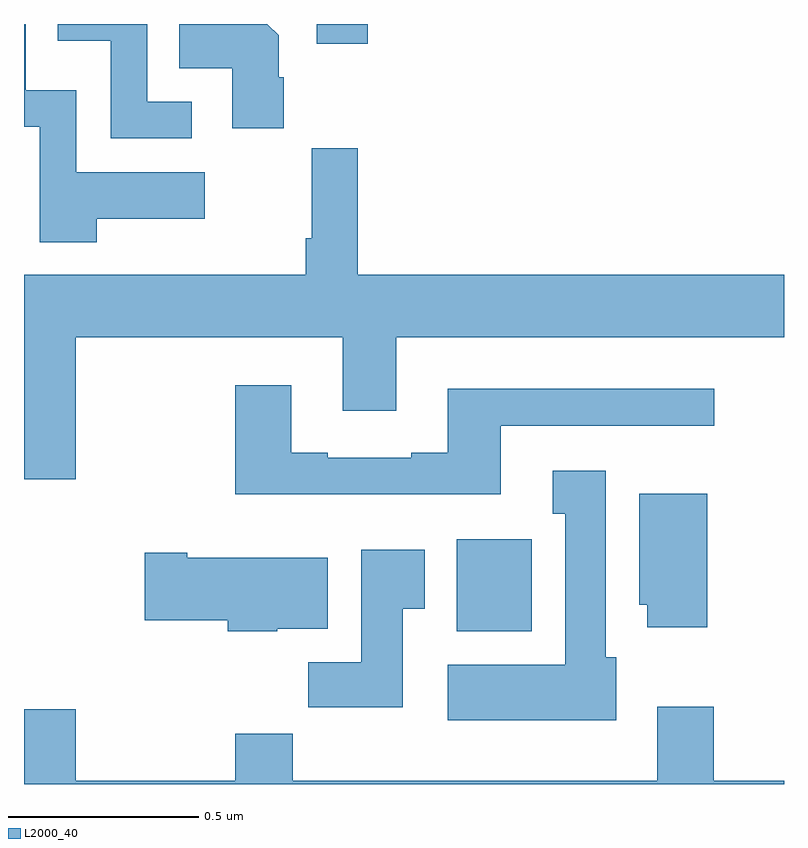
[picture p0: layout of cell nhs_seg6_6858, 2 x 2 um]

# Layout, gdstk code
import gdstk
lib = gdstk.Library(unit=1e-6, precision=1e-09)
def R(c, l, rs):  # rectangles x0, y0, x1, y1
    for r in rs: c.add(gdstk.rectangle(r[:2], r[2:], *l))
def P(c, l, *ps):  # polygons
    for p in ps: c.add(gdstk.Polygon(p, *l))
L2000_40 = (2000, 40)

nhs_seg6_6858 = lib.new_cell('nhs_seg6_6858')
R(nhs_seg6_6858, L2000_40, [(202.139,939.902,202.336,940.144), (201.77,941.448,201.905,941.5)])
P(nhs_seg6_6858, L2000_40, [(201.191,940.988),(201.475,940.988),(201.475,941.11),(201.138,941.11),(201.138,941.326),(201.004,941.326),(201.004,941.5),(201,941.5),(201,941.229),(201.042,941.229),(201.042,940.926),(201.191,940.926)],
  [(201.683,941.36),(201.67,941.36),(201.67,941.47),(201.64,941.5),(201.409,941.5),(201.409,941.384),(201.548,941.384),(201.548,941.226),(201.683,941.226)],
  [(201.442,941.295),(201.324,941.295),(201.324,941.5),(201.089,941.5),(201.089,941.456),(201.228,941.456),(201.228,941.199),(201.442,941.199)],
  [(201.136,940.676),(201.839,940.676),(201.839,940.482),(201.979,940.482),(201.979,940.676),(203,940.676),(203,940.84),(201.878,940.84),(201.878,941.173),(201.757,941.173),(201.757,940.936),(201.742,940.936),(201.742,940.84),(201,940.84),(201,940.302),(201.136,940.302)],
  [(202.255,940.443),(202.816,940.443),(202.816,940.54),(202.115,940.54),(202.115,940.372),(202.019,940.372),(202.019,940.359),(201.799,940.359),(201.799,940.372),(201.703,940.372),(201.703,940.549),(201.556,940.549),(201.556,940.262),(202.255,940.262)],
  [(202.558,939.834),(202.531,939.834),(202.531,940.324),(202.391,940.324),(202.391,940.211),(202.424,940.211),(202.424,939.814),(202.115,939.814),(202.115,939.668),(202.558,939.668)],
  [(202.798,940.264),(202.619,940.264),(202.619,939.972),(202.64,939.972),(202.64,939.912),(202.798,939.912)],
  [(201.997,939.961),(202.054,939.961),(202.054,940.117),(201.887,940.117),(201.887,939.82),(201.748,939.82),(201.748,939.702),(201.997,939.702)],
  [(201.666,939.908),(201.799,939.908),(201.799,940.096),(201.43,940.096),(201.43,940.109),(201.318,940.109),(201.318,939.931),(201.536,939.931),(201.536,939.902),(201.666,939.902)],
  [(203,939.508),(202.815,939.508),(202.815,939.703),(202.667,939.703),(202.667,939.508),(201.707,939.508),(201.707,939.632),(201.556,939.632),(201.556,939.508),(201.136,939.508),(201.136,939.697),(201,939.697),(201,939.5),(203,939.5)])

lib.write_gds('nhs_seg6_6858.gds')
